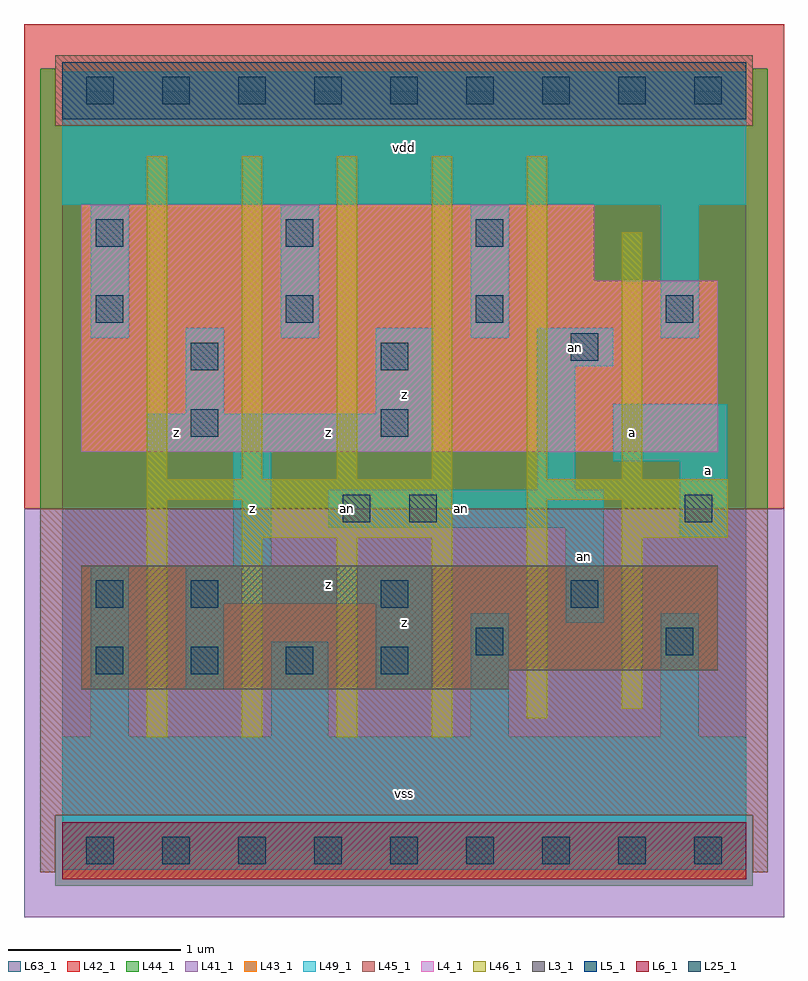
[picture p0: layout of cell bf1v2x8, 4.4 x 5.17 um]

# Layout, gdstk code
import gdstk
lib = gdstk.Library(unit=1e-6, precision=1e-09)
def R(c, l, rs):  # rectangles x0, y0, x1, y1
    for r in rs: c.add(gdstk.rectangle(r[:2], r[2:], *l))
def A(c, l, x, y, w, h, nx, ny, dx, dy):  # array of equal rectangles
    R(c, l, [(x+i*dx, y+j*dy, x+i*dx+w, y+j*dy+h) for i in range(nx) for j in range(ny)])
L3_1 = (3, 1)
L4_1 = (4, 1)
L5_1 = (5, 1)
L6_1 = (6, 1)
L25_1 = (25, 1)
L41_1 = (41, 1)
L42_1 = (42, 1)
L43_1 = (43, 1)
L44_1 = (44, 1)
L45_1 = (45, 1)
L46_1 = (46, 1)
L49_1 = (49, 1)
L63_1 = (63, 1)

bf1v2x8 = lib.new_cell('bf1v2x8')
R(bf1v2x8, L3_1, [(0.11,0.935,2.585,1.045), (0.11,1.045,3.795,1.65)])
R(bf1v2x8, L4_1, [(0.11,2.31,3.795,3.3), (0.11,3.3,3.08,3.74)])
R(bf1v2x8, L5_1, [(0,4.235,3.96,4.565)])
R(bf1v2x8, L6_1, [(0,-0.165,3.96,0.165)])
A(bf1v2x8, L25_1, 0.14, -0.08, 0.16, 0.16, 9, 2, 0.44, 4.4)
A(bf1v2x8, L25_1, 0.195, 1.02, 0.16, 0.16, 4, 1, 0.55, 0)
A(bf1v2x8, L25_1, 0.745, 1.405, 0.16, 0.16, 3, 1, 1.1, 0)
A(bf1v2x8, L25_1, 0.195, 3.055, 0.16, 0.16, 4, 1, 1.1, 0)
A(bf1v2x8, L25_1, 0.195, 3.495, 0.16, 0.16, 3, 1, 1.1, 0)
R(bf1v2x8, L25_1, [(2.395,1.13,2.555,1.29), (3.495,1.13,3.655,1.29), (0.195,1.405,0.355,1.565), (1.625,1.9,1.785,2.06), (2.01,1.9,2.17,2.06), (3.605,1.9,3.765,2.06), (0.745,2.395,0.905,2.555), (1.845,2.395,2.005,2.555), (0.745,2.78,0.905,2.94), (1.845,2.78,2.005,2.94), (2.945,2.835,3.105,2.995)])
R(bf1v2x8, L41_1, [(-0.22,-0.385,4.18,1.98)])
R(bf1v2x8, L42_1, [(-0.22,1.98,4.18,4.785)])
R(bf1v2x8, L43_1, [(0,-0.165,3.96,0.165), (0.11,0.935,2.585,1.045), (0.11,1.045,3.795,1.65), (0.11,2.31,3.795,3.3), (0.11,3.3,3.08,3.74), (0,4.235,3.96,4.565)])
R(bf1v2x8, L44_1, [(-0.04,-0.205,4,0.205), (-0.125,1.98,4.085,4.195), (-0.125,4.195,-0.04,4.525), (4,4.195,4.085,4.525)])
R(bf1v2x8, L45_1, [(-0.125,-0.125,-0.04,0.205), (4,-0.125,4.085,0.205), (-0.125,0.205,4.085,1.98), (-0.04,4.195,4,4.605)])
A(bf1v2x8, L46_1, 1.04, 0.655, 0.12, 1.155, 3, 1, 0.55, 0)
A(bf1v2x8, L46_1, 0.49, 2.15, 0.12, 1.87, 5, 1, 0.55, 0)
R(bf1v2x8, L46_1, [(0.49,0.655,0.61,2.03), (2.69,0.765,2.81,2.03), (3.24,0.82,3.36,1.81), (1.04,1.81,2.26,2.03), (3.24,1.81,3.855,2.03), (0.49,2.03,2.26,2.15), (2.69,2.03,3.855,2.15), (3.24,2.15,3.36,3.58)])
A(bf1v2x8, L49_1, 0.165, 2.97, 0.22, 0.77, 4, 1, 1.1, 0)
R(bf1v2x8, L49_1, [(0,-0.11,3.96,0.66), (0.165,0.66,0.385,1.65), (1.21,0.66,1.54,1.21), (2.365,0.66,2.585,1.375), (3.465,0.66,3.685,1.375), (0.715,0.935,0.935,1.43), (1.815,0.935,2.145,1.43), (2.915,1.32,3.135,1.87), (0.715,1.43,2.145,1.65), (0.99,1.65,1.21,2.31), (3.575,1.815,3.85,2.255), (1.54,1.87,3.135,2.09), (2.75,2.09,2.97,2.805), (3.19,2.255,3.85,2.585), (0.495,2.31,2.145,2.53), (0.715,2.53,0.935,3.025), (1.815,2.53,2.145,3.025), (2.75,2.805,3.19,3.025), (0,3.74,3.96,4.51)])
R(bf1v2x8, L63_1, [(0,0,3.96,4.4)])
bf1v2x8.add(gdstk.Label('an', (1.65,1.98), layer=49, texttype=1))
bf1v2x8.add(gdstk.Label('z', (0.66,2.42), layer=49, texttype=1))
bf1v2x8.add(gdstk.Label('z', (1.1,1.98), layer=49, texttype=1))
bf1v2x8.add(gdstk.Label('vss', (1.98,0.33), layer=49, texttype=1))
bf1v2x8.add(gdstk.Label('z', (1.54,1.54), layer=49, texttype=1))
bf1v2x8.add(gdstk.Label('z', (1.98,1.32), layer=49, texttype=1))
bf1v2x8.add(gdstk.Label('z', (1.54,2.42), layer=49, texttype=1))
bf1v2x8.add(gdstk.Label('z', (1.98,2.64), layer=49, texttype=1))
bf1v2x8.add(gdstk.Label('vdd', (1.98,4.07), layer=49, texttype=1))
bf1v2x8.add(gdstk.Label('an', (3.025,1.705), layer=49, texttype=1))
bf1v2x8.add(gdstk.Label('an', (2.31,1.98), layer=49, texttype=1))
bf1v2x8.add(gdstk.Label('an', (2.97,2.915), layer=49, texttype=1))
bf1v2x8.add(gdstk.Label('a', (3.3,2.42), layer=49, texttype=1))
bf1v2x8.add(gdstk.Label('a', (3.74,2.2), layer=49, texttype=1))

lib.write_gds('bf1v2x8.gds')
